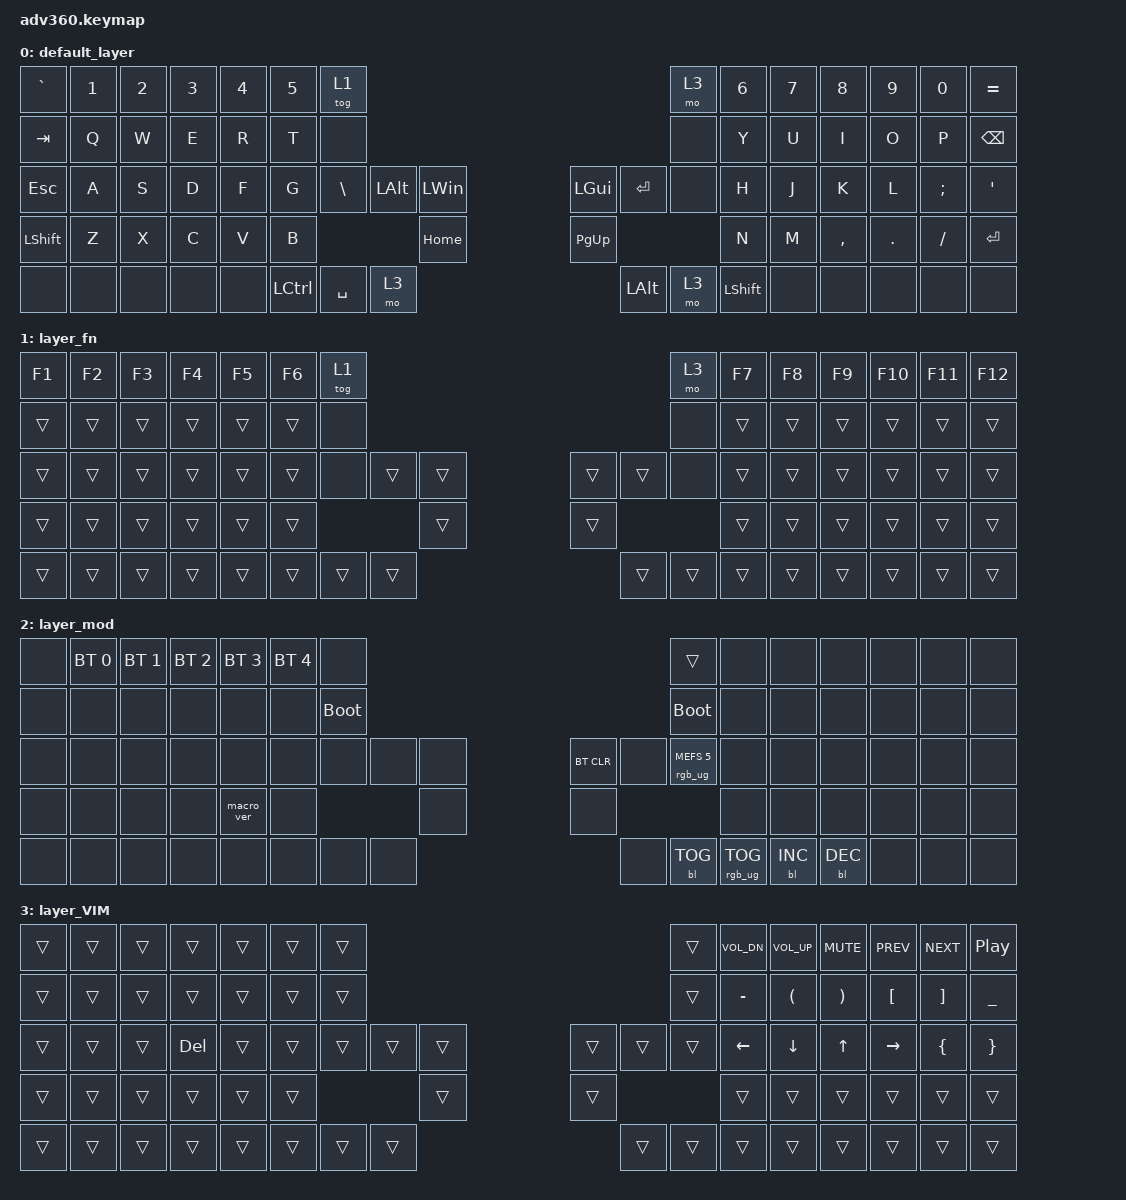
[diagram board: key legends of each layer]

/*
 * Copyright (c) 2020 The ZMK Contributors
 *
 * SPDX-License-Identifier: MIT
 */


/* THIS FILE WAS GENERATED!
 *
 * This file was generated automatically. You may or may not want to
 * edit it directly.
 */

#include <behaviors.dtsi>
#include <dt-bindings/zmk/keys.h>
#include <dt-bindings/zmk/bt.h>
#include <dt-bindings/zmk/rgb.h>
#include <dt-bindings/zmk/backlight.h>

/ {
  behaviors {
    #include "macros.dtsi"
    #include "version.dtsi"

    hm: homerow_mods {
        compatible = "zmk,behavior-hold-tap";
        label = "HOMEROW_MODS";
        #binding-cells = <2>;
        tapping-term-ms = <200>;
        quick_tap_ms = <175>;
        flavor = "tap-preferred";
        bindings = <&kp>, <&kp>;
    };
  };

    keymap {
        compatible = "zmk,keymap";


        default_layer {
            bindings = <
      &kp GRAVE  &kp N1  &kp N2  &kp N3  &kp N4  &kp N5                      &tog 1                                                                                &mo 3  &kp N6  &kp N7     &kp N8   &kp N9    &kp N0      &kp EQUAL
        &kp TAB   &kp Q   &kp W   &kp E   &kp R   &kp T                       &none                                                                                &none   &kp Y   &kp U      &kp I    &kp O     &kp P  &kp BACKSPACE
        &kp ESC   &kp A   &kp S   &kp D   &kp F   &kp G               &kp BACKSLASH  &kp LEFT_ALT  &kp LEFT_WIN                      &kp LGUI  &kp ENTER           &none   &kp H   &kp J      &kp K    &kp L  &kp SEMI        &kp SQT
 &kp LEFT_SHIFT   &kp Z   &kp X   &kp C   &kp V   &kp B                                                &kp HOME                     &kp PG_UP                              &kp N   &kp M  &kp COMMA  &kp DOT  &kp FSLH      &kp ENTER
          &none   &none   &none   &none   &none                    &kp LEFT_CONTROL     &kp SPACE         &mo 3                  &kp LEFT_ALT      &mo 3  &kp LEFT_SHIFT           &none      &none    &none     &none          &none
            >;
        };

        layer_fn {
            bindings = <
 &kp F1  &kp F2  &kp F3  &kp F4  &kp F5  &kp F6            &tog 1                                                   &mo 3  &kp F7  &kp F8  &kp F9  &kp F10  &kp F11  &kp F12
 &trans  &trans  &trans  &trans  &trans  &trans             &none                                                   &none  &trans  &trans  &trans   &trans   &trans   &trans
 &trans  &trans  &trans  &trans  &trans  &trans             &none  &trans  &trans                  &trans  &trans   &none  &trans  &trans  &trans   &trans   &trans   &trans
 &trans  &trans  &trans  &trans  &trans  &trans                            &trans                  &trans                  &trans  &trans  &trans   &trans   &trans   &trans
 &trans  &trans  &trans  &trans  &trans                    &trans  &trans  &trans                  &trans  &trans  &trans          &trans  &trans   &trans   &trans   &trans
            >;
        };

        layer_mod {
            bindings = <
  &none  &bt BT_SEL 0  &bt BT_SEL 1  &bt BT_SEL 2  &bt BT_SEL 3  &bt BT_SEL 4                  &none                                                                          &trans   &none       &none       &none   &none   &none   &none
  &none         &none         &none         &none         &none         &none            &bootloader                                                                     &bootloader   &none       &none       &none   &none   &none   &none
  &none         &none         &none         &none         &none         &none                  &none   &none   &none                  &bt BT_CLR       &none  &rgb_ug RGB_MEFS_CMD 5   &none       &none       &none   &none   &none   &none
  &none         &none         &none         &none    &macro_ver         &none                                  &none                       &none                                       &none       &none       &none   &none   &none   &none
  &none         &none         &none         &none         &none                                &none   &none   &none                       &none  &bl BL_TOG         &rgb_ug RGB_TOG          &bl BL_INC  &bl BL_DEC   &none   &none   &none
            >;
        };

        layer_VIM {
            bindings = <
 &trans  &trans  &trans      &trans  &trans  &trans            &trans                                                  &trans  &kp C_VOL_DN          &kp C_VOL_UP             &kp C_MUTE        &kp C_PREV         &kp C_NEXT  &kp C_PLAY_PAUSE
 &trans  &trans  &trans      &trans  &trans  &trans            &trans                                                  &trans     &kp MINUS  &kp LEFT_PARENTHESIS  &kp RIGHT_PARENTHESIS  &kp LEFT_BRACKET  &kp RIGHT_BRACKET    &kp UNDERSCORE
 &trans  &trans  &trans  &kp DELETE  &trans  &trans            &trans  &trans  &trans                  &trans  &trans  &trans      &kp LEFT              &kp DOWN                 &kp UP         &kp RIGHT     &kp LEFT_BRACE   &kp RIGHT_BRACE
 &trans  &trans  &trans      &trans  &trans  &trans                            &trans                  &trans                        &trans                &trans                 &trans            &trans             &trans            &trans
 &trans  &trans  &trans      &trans  &trans                    &trans  &trans  &trans                  &trans  &trans  &trans                              &trans                 &trans            &trans             &trans            &trans
            >;
        };

    };
};
